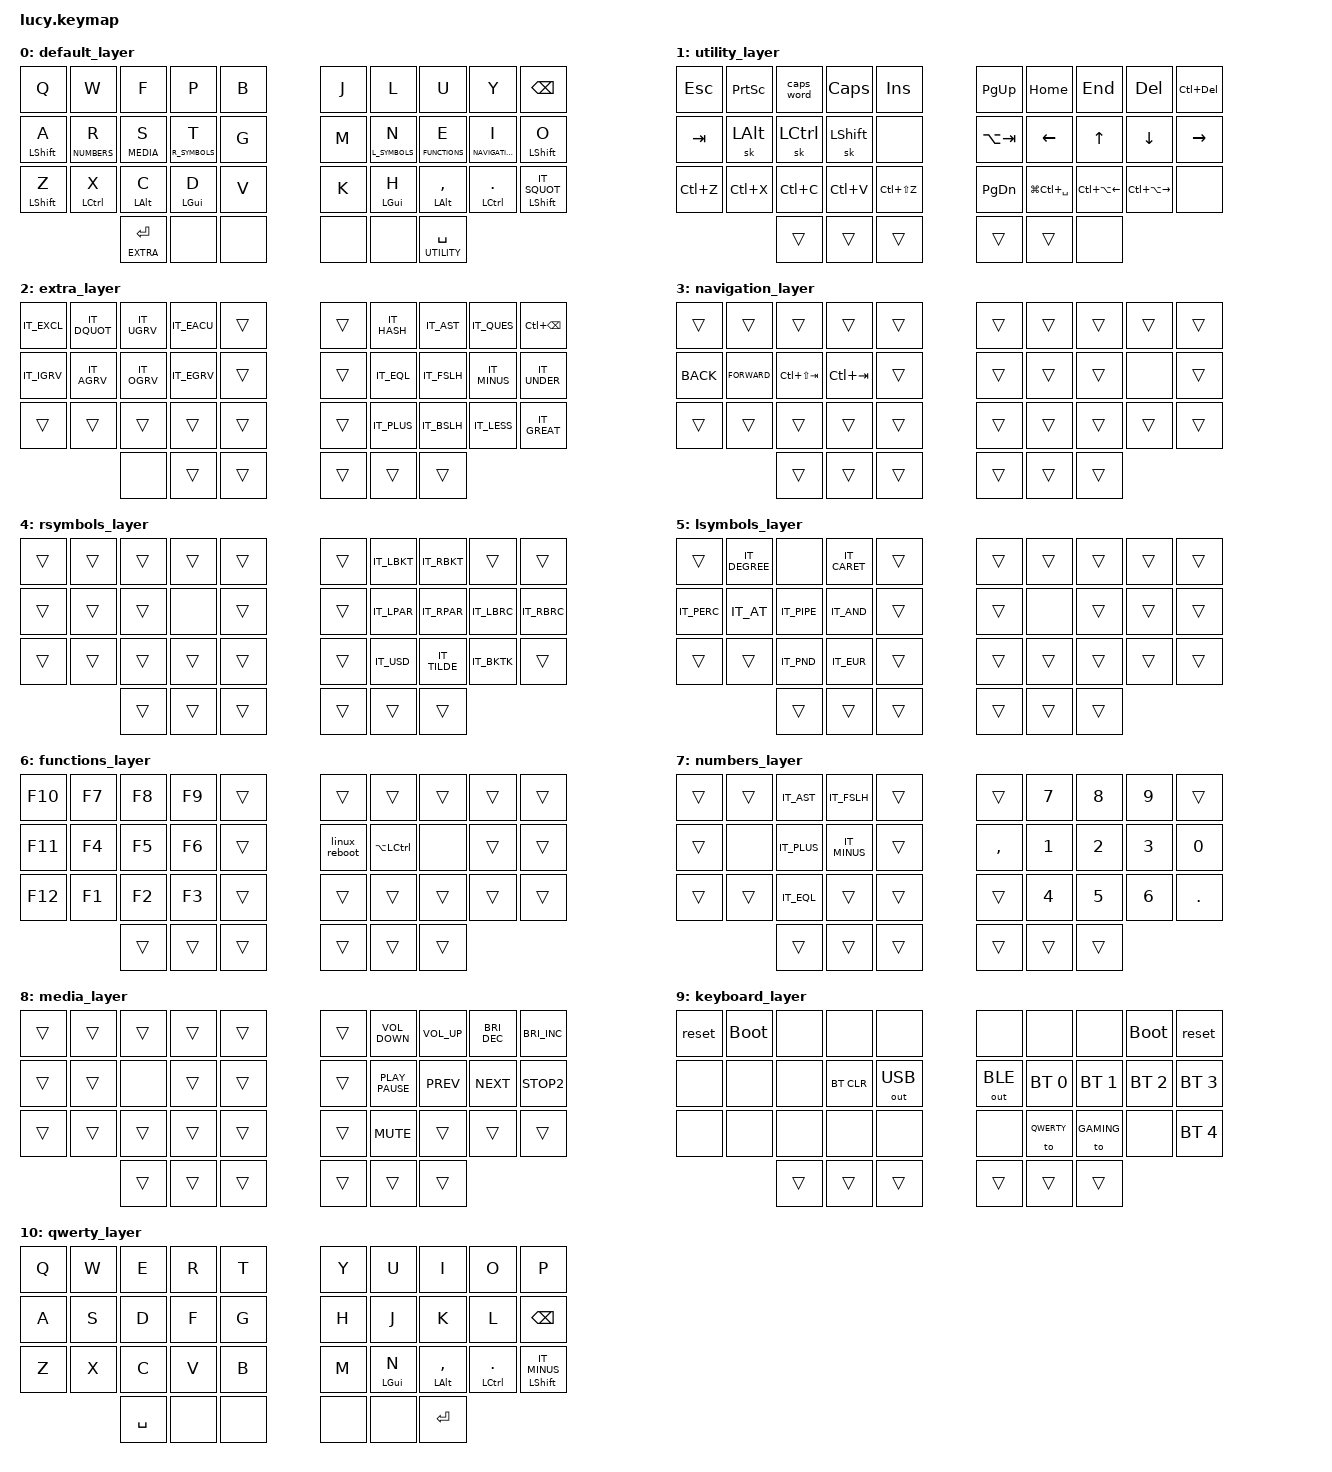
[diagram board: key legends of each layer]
/*
 * Copyright (c) 2020 The ZMK Contributors
 *
 * SPDX-License-Identifier: MIT
 */

#include "./boards/shields/lucy/italian.keycodes"

#include <behaviors.dtsi>
#include <dt-bindings/zmk/keys.h>
#include <dt-bindings/zmk/outputs.h>
#include <dt-bindings/zmk/bt.h>

#define DEFAULT                 0

#define UTILITY                 1

#define EXTRA                   2

#define NAVIGATION              3

#define R_SYMBOLS               4

#define L_SYMBOLS               5

#define FUNCTIONS               6

#define NUMBERS                 7

#define MEDIA                   8

#define KEYBOARD                9

#define QWERTY                  10

#define GAMING                  11

&mt {
    //tapping-term-ms = <300>;
    //quick_tap_ms = <0>;
    //flavor = "tap-preferred";
    //retro-tap;
};

/ {

    macros {
           gmail: gmail {
               label = "gmail_email";
               compatible = "zmk,behavior-macro";
               #binding-cells = <0>;
               wait-ms = <30>;
               tap-ms = <40>;
               bindings
                   = <
                   &kp S &kp A &kp B &kp B &kp I &kp O
                   >
                   ;
           };

            // I don't know why but this doesn't work
           linux_reboot: linux_reboot {
                label = "reboot_linux_system_with_SysRq";
                compatible = "zmk,behavior-macro";
                #binding-cells = <0>;
                wait-ms = <500>;
                tap-ms = <40>;
                bindings
                     = <&macro_press &kp LALT>
                     , <&macro_press &kp PRINTSCREEN>
                     , <&kp R &kp E>
                     , <&kp I>
                     , <&kp S>
                     , <&kp U>
                     , <&kp B>
                     , <&macro_release &kp LALT>
                     , <&macro_release &kp PRINTSCREEN>
                     ;
           };

       };

    combos {
        compatible = "zmk,combos";

        // Get back to default layer by pressing both thumb keys
        combo_escape_qwerty {
            timeout-ms = <100>;
            layers= <QWERTY GAMING>;
            key-positions = <30 35>;
            bindings = <&to DEFAULT>;
        };

        // easier to hit
        combo_escape_qwerty2 {
            timeout-ms = <150>;
            layers= <QWERTY GAMING>;
            key-positions = <16 17 18 19>;
            bindings = <&to DEFAULT>;
        };

        // combo to tab in qwerty
        combo_tab_qwerty {
            timeout-ms = <75>;
            layers = <QWERTY>;
            key-positions = <10 11>;
            bindings = <&kp TAB>;
        };
   };

    conditional_layers {
        compatible = "zmk,conditional-layers";
        tri_keyboard_layer {
            if-layers = <UTILITY EXTRA>;
            then-layer = <KEYBOARD>;
        };
    };

    behaviors {

        // Behaviors for home row layers toggle

        llt: left_layer_toggle {
            compatible = "zmk,behavior-hold-tap";
            label = "HOMEROW_LAYERS_LEFT";
            #binding-cells = <2>;
            tapping-term-ms = <200>;    // 250
            quick_tap_ms = <80>;
            flavor = "tap-preferred";
            bindings = <&mo>, <&kp>;
            hold-trigger-key-positions = <5 6 7 8 9 15 16 17 18 19 25 26 27 28 29>;    // <---[[right-hand keys]]
        };

        rlt: right_layer_toggle {
            compatible = "zmk,behavior-hold-tap";
            label = "HOMEROW_LAYERS_RIGHT";
            #binding-cells = <2>;
            tapping-term-ms = <200>;    //250
            quick_tap_ms = <80>;
            flavor = "tap-preferred";
            bindings = <&mo>, <&kp>;
            hold-trigger-key-positions = <0 1 2 3 4 10 11 12 13 14 20 21 22 23 24>;    // <---[[left-hand keys]]

        };

        // Behaviors for mods in the bottom row

        lm: left_mods {
            compatible = "zmk,behavior-hold-tap";
            label = "MODS_LEFT";
            #binding-cells = <2>;
            //flavor = "tap-unless-interrupted";
            flavor = "tap-preferred";
            tapping-term-ms = <185>;
            quick-tap-ms = <80>;        // 125
            bindings = <&kp>, <&kp>;
            hold-trigger-key-positions = <5 6 7 8 9 15 16 17 18 19 25 26 27 28 29>;    // <---[[right-hand keys]]
        };

        rm: right_mods {
            compatible = "zmk,behavior-hold-tap";
            label = "MODS_RIGHT";
            #binding-cells = <2>;
            //flavor = "tap-unless-interrupted";
            flavor = "tap-preferred";
            tapping-term-ms = <185>;
            quick-tap-ms = <80>;        // 125
            bindings = <&kp>, <&kp>;
            hold-trigger-key-positions = <0 1 2 3 4 10 11 12 13 14 20 21 22 23 24>;    // <---[[left-hand keys]]
       };

    // Layer on left thumb is for quick access to symbols used while typing so I need a shorter window for triggering
    // the hold behavior. This is possible as RETURN is not used in the middle of something. Balanced behavior is perfect here
    qlt: quick_layer_toggle {
            compatible = "zmk,behavior-hold-tap";
            label = "LEFT_LAYER_TOGGLE";
            #binding-cells = <2>;
            tapping-term-ms = <125>;
            quick-tap-ms = <0>;
            flavor = "balanced";
            bindings = <&mo>, <&kp>;
       };
    };

// IT IS MEANT TO BE USED WITH THE ITALIAN QWERTY LAYOUT
// BASED on the FERRIS layout by pierrechevalier83
// https://github.com/qmk/qmk_firmware/tree/master/keyboards/ferris/keymaps/default

        keymap {
                compatible = "zmk,keymap";

//  DEFAULT layer with COLEMAK-DH
       		default_layer {
		bindings = <
		&kp Q               &kp W               &kp F               &kp P               &kp B           &kp J               &kp L               &kp U               &kp Y               &kp BKSP
		&lm LSHFT A         &llt NUMBERS R      &llt MEDIA S        &llt R_SYMBOLS T    &kp G           &kp M               &rlt L_SYMBOLS N    &rlt FUNCTIONS E    &rlt NAVIGATION I   &rm LSHFT O
		&lm LSHFT Z         &lm LCTRL X         &lm LALT C          &lm LGUI D          &kp V           &kp K               &rm LGUI H          &rm LALT CMMA       &rm LCTRL DOT       &rm LSHFT IT_SQUOT
                                                &qlt EXTRA RET      &none               &none           &none               &none               &lt UTILITY SPC
		>;
		};

// UTILITY LAYER
// &kp K_COPY &kp K_PASTE &kp K_CUT don't work
		    utility_layer {
		bindings = <
		&kp ESC             &kp PRINTSCREEN     &caps_word          &kp CAPS            &kp INSERT      &kp PAGE_UP         &kp HOME            &kp END             &kp DEL             &kp LC(DEL)
		&kp TAB             &sk LALT            &sk LCTRL           &sk LSHIFT          &none           &kp LA(TAB)         &kp LEFT            &kp UP              &kp DOWN            &kp RIGHT
		&kp LC(Z)           &kp LC(X)           &kp LC(C)           &kp LC(V)           &kp LC(LS(Z))   &kp PAGE_DOWN       &kp LG(LC(SPACE))   &kp LC(LA(LEFT))    &kp LC(LA(RIGHT))   &none
                                                &trans              &trans              &trans          &trans              &trans              &none
		>;
		};

// EXTRA
            extra_layer {
		bindings = <
		&kp IT_EXCL         &kp IT_DQUOT        &kp IT_UGRV         &kp IT_EACU         &trans          &trans              &kp IT_HASH         &kp IT_AST          &kp IT_QUES         &kp LC(BKSP)
		&kp IT_IGRV         &kp IT_AGRV         &kp IT_OGRV         &kp IT_EGRV         &trans          &trans              &kp IT_EQL          &kp IT_FSLH         &kp IT_MINUS        &kp IT_UNDER
		&trans              &trans              &trans              &trans              &trans          &trans              &kp IT_PLUS         &kp IT_BSLH         &kp IT_LESS         &kp IT_GREAT
                                                &none               &trans              &trans          &trans              &trans              &trans
		>;
		};

// NAVIGATION LAYER
// As navigation is in the utility layer, here I will add mouse keys and extra navigations keys
// Add shortcuts to change tabs
		    navigation_layer {
		bindings = <
		&trans              &trans              &trans              &trans              &trans          &trans              &trans              &trans              &trans              &trans
		&kp K_BACK          &kp K_FORWARD       &kp LC(LS(TAB))     &kp LC(TAB)         &trans          &trans              &trans              &trans              &none               &trans
		&trans              &trans              &trans              &trans              &trans          &trans              &trans              &trans              &trans              &trans
                                                &trans              &trans              &trans          &trans              &trans              &trans
		>;
		};

// RIGHT SYMBOLS
            rsymbols_layer {
		bindings = <
		&trans              &trans              &trans              &trans              &trans          &trans              &kp IT_LBKT         &kp IT_RBKT         &trans              &trans
    	&trans              &trans              &trans              &none               &trans          &trans              &kp IT_LPAR         &kp IT_RPAR         &kp IT_LBRC         &kp IT_RBRC
		&trans              &trans              &trans              &trans              &trans          &trans              &kp IT_USD          &kp IT_TILDE        &kp IT_BKTK         &trans
                                                &trans              &trans              &trans          &trans              &trans              &trans
		>;
		};

// LEFT SYMBOLS
       		lsymbols_layer {
		bindings = <
		&trans              &kp IT_DEGREE       &none               &kp IT_CARET        &trans          &trans              &trans              &trans              &trans              &trans
		&kp IT_PERC         &kp IT_AT           &kp IT_PIPE         &kp IT_AND          &trans          &trans              &none               &trans              &trans              &trans
		&trans              &trans              &kp IT_PND          &kp IT_EUR          &trans          &trans              &trans              &trans              &trans              &trans
                                                &trans              &trans              &trans          &trans              &trans              &trans
		>;
		};

// FUNCTIONS KEYS
// Access to &sysrq_emergency_reboot is intentionally cumbersome to avoid pressing it by mistake
		    functions_layer {
		bindings = <
		&kp F10             &kp F7              &kp F8              &kp F9              &trans          &trans              &trans              &trans              &trans              &trans
        &kp F11             &kp F4              &kp F5              &kp F6              &trans          &linux_reboot       &kp LA(LCTL)        &none               &trans              &trans
        &kp F12             &kp F1              &kp F2              &kp F3              &trans          &trans              &trans              &trans              &trans              &trans
                                                &trans              &trans              &trans          &trans              &trans              &trans
		>;
		};
// NUMBERS KEYS
		    numbers_layer {
		bindings = <
		&trans              &trans              &kp IT_AST          &kp IT_FSLH         &trans          &trans              &kp N7              &kp N8              &kp N9              &trans
        &trans              &none               &kp IT_PLUS         &kp IT_MINUS        &trans          &kp COMMA           &kp N1              &kp N2              &kp N3              &kp N0
        &trans              &trans              &kp IT_EQL          &trans              &trans          &trans              &kp N4              &kp N5              &kp N6              &kp DOT
                                                &trans              &trans              &trans          &trans              &trans              &trans
		>;
		};

// MEDIA LAYER
		    media_layer {
		bindings = <
		&trans              &trans              &trans              &trans              &trans          &trans              &kp K_VOLUME_DOWN   &kp K_VOLUME_UP     &kp C_BRI_DEC       &kp C_BRI_INC
		&trans              &trans              &none               &trans              &trans          &trans              &kp K_PLAY_PAUSE    &kp K_PREV          &kp K_NEXT          &kp K_STOP2
		&trans              &trans              &trans              &trans              &trans          &trans              &kp K_MUTE          &trans              &trans              &trans
                                                &trans              &trans              &trans          &trans              &trans              &trans
		>;
		};

// KEYBOARD LAYER
// reset and bootloader must be present on both sides as they only work on the side where they are pressed
		    keyboard_layer {
		bindings = <
		&reset              &bootloader         &none               &none               &none           &none               &none               &none               &bootloader         &reset
		&none               &none               &none               &bt BT_CLR          &out OUT_USB    &out OUT_BLE        &bt BT_SEL 0        &bt BT_SEL 1        &bt BT_SEL 2        &bt BT_SEL 3
		&none               &none               &none               &none               &none           &none               &to QWERTY          &to GAMING          &none               &bt BT_SEL 4
                                                &trans              &trans              &trans          &trans              &trans              &trans
		>;
		};

//  QWERTY, mainly for gaming or letting others try the keyboard
       		qwerty_layer {
		bindings = <
		&kp Q               &kp W               &kp E               &kp R               &kp T           &kp Y               &kp U               &kp I               &kp O               &kp P
		&kp A               &kp S               &kp D               &kp F               &kp G           &kp H               &kp J               &kp K               &kp L               &kp BKSP
		&kp Z               &kp X               &kp C               &kp V               &kp B           &kp M               &mt LGUI N          &mt LALT CMMA       &mt LCTRL DOT       &mt LSHFT IT_MINUS
                                                &kp SPC             &none               &none           &none               &none               &kp RET
		>;
		};

	};

//  QWERTY, mainly for gaming or letting others try the keyboard
           	qwerty_gaming_layer {
    	bindings = <
    	&kp TAB             &kp Q               &kp W               &kp E               &kp R           &none               &none               &none               &none               &none
    	&kp LSHIFT          &kp A               &kp S               &kp D               &kp F           &none               &none               &none               &none               &none
    	&kp LCTRL           &kp Z               &kp X               &kp C               &kp V           &none               &none               &none               &none               &none
                                                &kp SPC             &none               &none           &none               &none               &kp RET
    	>;
    	};

};

